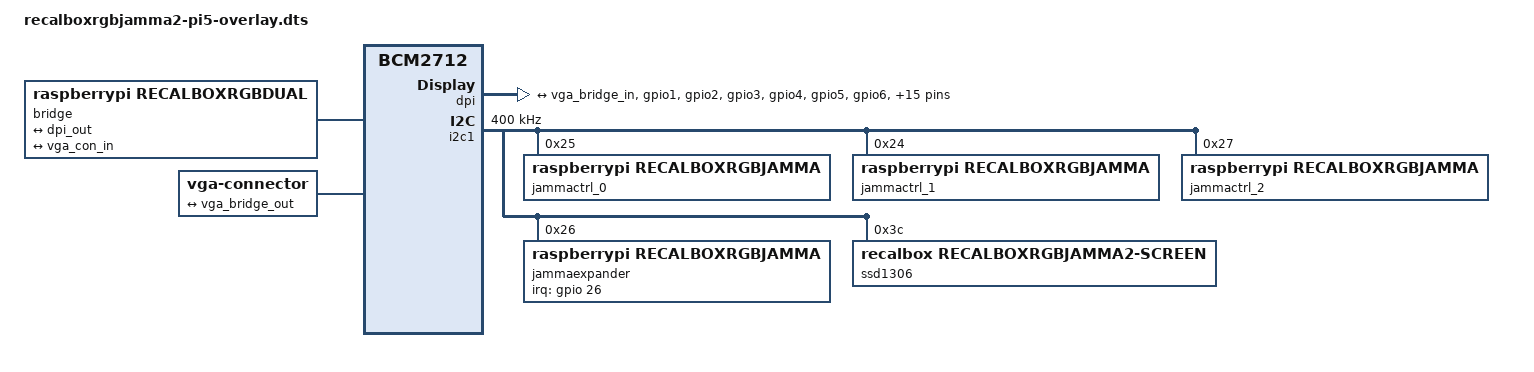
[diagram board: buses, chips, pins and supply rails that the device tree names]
/dts-v1/;
/plugin/;

#include <dt-bindings/gpio/gpio.h>


/ {
	compatible = "brcm,bcm2712";
	fragment@0 {
		target = <&rp1_gpio>;

		__overlay__ {
			irq_gpio_26: irq_gpio_26_conf {
				function = "gpio";
				pins = "gpio26";
				bias-pull-up;
			};
		};
	};

	fragment@1 {
		target-path = "/";
		__overlay__ {
			bridge: recalboxrgbjamma {
				compatible = "raspberrypi,recalboxrgbdual";
				#address-cells = <1>;
				#size-cells = <0>;

				vc4-vga666-mode = <6>;
				recalbox-rgb-jamma-2 = <1>;

				ports {
					#address-cells = <1>;
					#size-cells = <0>;

					port@0 {
						reg = <0>;

						vga_bridge_in: endpoint {
							remote-endpoint = <&dpi_out>;
						};
					};

					port@1 {
						reg = <1>;

						vga_bridge_out: endpoint {
							remote-endpoint = <&vga_con_in>;
						};
					};
				};
			};

			vga {
				compatible = "vga-connector";

				port {
					vga_con_in: endpoint {
						remote-endpoint = <&vga_bridge_out>;
					};
				};
			};
		};
	};

	fragment@2 {
		target = <&dpi>;
		__overlay__  {
			status = "okay";
			pinctrl-names = "default";
			pinctrl-0 = <&vga666_mode6_pins>;
			port {
				dpi_out: endpoint@0 {
					remote-endpoint = <&vga_bridge_in>;
				};
			};
		};
	};

	fragment@4 {
		target = <&gpio>;
		__overlay__ {
			vga666_mode6_pins: vga666_mode6_pins {
				function = "dpi";
				pins = "gpio1", "gpio2", "gpio3",
					   "gpio4", "gpio5", "gpio6", "gpio7",
					   "gpio8", "gpio9",
					   "gpio12", "gpio13", "gpio14", "gpio15",
					   "gpio16", "gpio17",
					   "gpio20", "gpio21", "gpio22", "gpio23",
					   "gpio24", "gpio25";
				bias-disable;
			};
		};
	};

    fragment@50 {
        target = <&rp1_gpio>;
        __overlay__ {
            rp1_i2s0_jamma: rp1_i2s0_jamma {
                function = "i2s0";
                pins = "gpio18", "gpio19", "gpio27";
                bias-disable;
            };
        };
    };
    fragment@51 {
        target = <&i2s_clk_producer>;
        __overlay__ {
            #sound-dai-cells = <0>;
            pinctrl-names = "default";
            pinctrl-0 = <&rp1_i2s0_jamma>;
            status = "okay";
        };
    };


	fragment@52 {
		target = <&sound>;
		__overlay__ {
			compatible = "simple-audio-card";
			simple-audio-card,name = "Recalbox RGB JAMMA 2";
			status = "okay";
			simple-audio-card,dai-link@1 {
				format = "i2s";
				cpu {
					sound-dai = <&i2s_clk_producer>;
					dai-tdm-slot-num = <2>;
					dai-tdm-slot-width = <32>;
				};
				codec {
					sound-dai = <&codec_out>;
				};
			};
		};
	};

	fragment@53 {
		target-path = "/";
		__overlay__ {
			codec_out: recalbox_i2s {
				#sound-dai-cells = <0>;
				compatible = "recalbox_i2s";
				status = "okay";
			};
		};
	};

  fragment@8 {
    target = <&i2c1>;
    fragi2c: __overlay__ {
      status = "okay";
      pinctrl-names = "default";
      pinctrl-0 = <&rp1_i2c1_10_11>;
      clock-frequency = <400000>;
      read-timeout-ms = <50>;

      jammactrl_0: jammactrl_0@25 {
        compatible = "raspberrypi,recalboxrgbjamma";
        reg = <0x25>;
        status = "okay";
        pinctrl-names = "default";
      };
      jammactrl_1: jammactrl_1@24 {
        compatible = "raspberrypi,recalboxrgbjamma";
        reg = <0x24>;
        status = "okay";
      };
      jammactrl_2: jammactrl_2@27 {
        compatible = "raspberrypi,recalboxrgbjamma";
        reg = <0x27>;
        status = "okay";
      };
      jammaexpander: jammaexpander@26 {
        compatible = "raspberrypi,recalboxrgbjamma";
		is_pi5 = <1>;
		// Proto 1 = 1, rev A = 2
	    rev = <2>;
        reg = <0x26>;
        status = "okay";
		pinctrl-names = "default";
		pinctrl-0 = <&irq_gpio_26>;
		interrupt-parent = <&gpio>;
		interrupts = <26 2>;
		irq-gpios = <&gpio 26 0>;
      };
      ssd1306: ssd1306@3c {
        compatible = "recalbox,recalboxrgbjamma2-screen";
        reg = <0x3c>;
      };
    };
  };
  __overrides__ {
	  baudrate = <&fragi2c>, "clock-frequency:0";
	  rev = <&jammaexpander>, "rev:0";
  };
};
